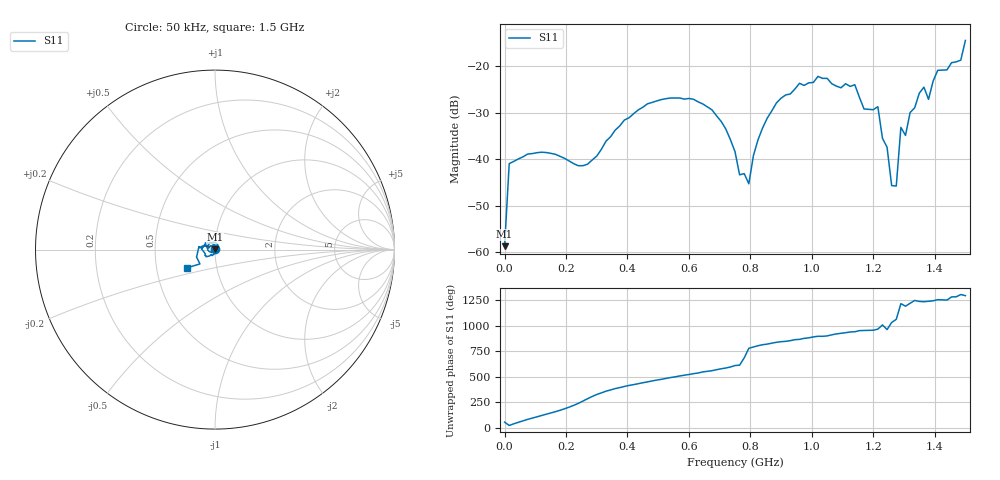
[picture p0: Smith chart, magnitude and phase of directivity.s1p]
! Created with skrf 1.8.0 (http://scikit-rf.org).
# Hz S RI R 50.0
!freq ReS11 ImS11
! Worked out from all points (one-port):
!   101 points, 50 kHz to 1.5 GHz, reference 50 ohm
!   lowest |S11| = -58.6 dB at 50 kHz (marker M1), VSWR 1.00, Z = 50.1 + j0.094 ohm
!   |S11| at or under -10 dB: start of sweep to end of sweep
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50000  0.000696 0.000939
1.50495e7  0.00838 0.00324
1.950435e8  -0.0102 -0.00075
2.70041e8  0.00201 -0.00863
3.750375e8  0.0194 0.0121
5.70031e8  -0.0377 0.0254
6.750275e8  -0.0323 -0.0102
7.50025e8  -0.00452 -0.0112
7.650245e8  -0.00212 -0.00648
7.950235e8  0.00299 0.00457
8.10023e8  0.00378 0.0103
8.550215e8  -0.00393 0.0274
9.450185e8  -0.0445 0.0353
1.020016e9  -0.0772 0.00709
1.125012e9  -0.0483 -0.0364
1.170011e9  -0.0215 -0.0272
1.21501e9  -0.0157 -0.0332
1.245008e9  -0.00669 -0.0117
1.260008e9  0.00333 -0.00402
1.275008e9  0.00488 -0.00171
1.290007e9  -0.0155 0.0156
1.305006e9  -0.00601 0.017
1.320006e9  -0.0235 0.0213
1.365004e9  -0.0531 0.0267
1.380004e9  -0.0407 0.0167
1.410003e9  -0.0895 0.0103
1.485e9  -0.0839 -0.0798
1.5e9  -0.1582 -0.1022
